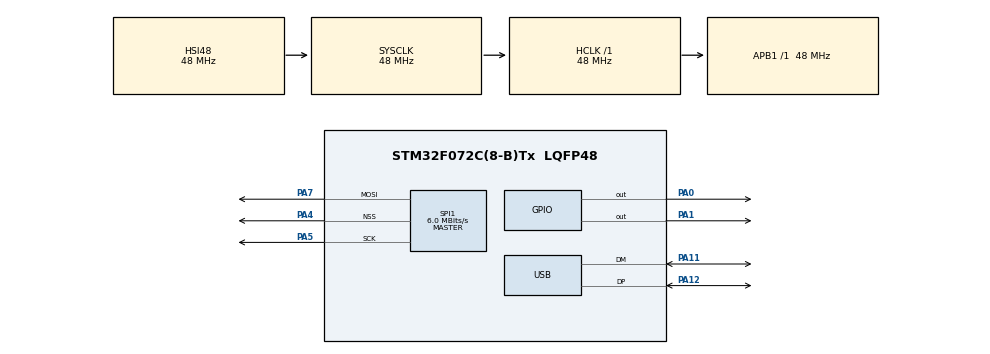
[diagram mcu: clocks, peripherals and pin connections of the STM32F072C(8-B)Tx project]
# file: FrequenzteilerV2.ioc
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Mcu.Family=STM32F0
Mcu.Name=STM32F072C(8-B)Tx
Mcu.Package=LQFP48
NVIC.USB_IRQn=true\:0\:0\:false\:false\:true\:false\:true
PA0.Signal=GPIO_Output
PA1.Signal=GPIO_Output
PA11.Mode=Device
PA11.Signal=USB_DM
PA12.Mode=Device
PA12.Signal=USB_DP
PA13.Mode=Serial_Wire
PA13.Signal=SYS_SWDIO
PA14.Mode=Serial_Wire
PA14.Signal=SYS_SWCLK
PA4.Mode=NSS_Signal_Hard_Output
PA4.Signal=SPI1_NSS
PA5.Mode=TX_Only_Simplex_Unidirect_Master
PA5.Signal=SPI1_SCK
PA7.Mode=TX_Only_Simplex_Unidirect_Master
PA7.Signal=SPI1_MOSI
ProjectManager.HeapSize=0x200
ProjectManager.StackSize=0x400
ProjectManager.TargetToolchain=STM32CubeIDE
RCC.AHBFreq_Value=48000000
RCC.APB1Freq_Value=48000000
RCC.APB1TimFreq_Value=48000000
RCC.HCLKFreq_Value=48000000
RCC.SYSCLKFreq_VALUE=48000000
RCC.SYSCLKSource=RCC_SYSCLKSOURCE_HSI48
SPI1.BaudRatePrescaler=SPI_BAUDRATEPRESCALER_8
SPI1.CalculateBaudRate=6.0 MBits/s
SPI1.DataSize=SPI_DATASIZE_16BIT
SPI1.Direction=SPI_DIRECTION_2LINES
SPI1.Mode=SPI_MODE_MASTER
SPI1.VirtualNSS=VM_NSSHARD
SPI1.VirtualType=VM_MASTER
USB_DEVICE.CLASS_NAME_FS=CDC
USB_DEVICE.VirtualMode=Cdc
USB_DEVICE.VirtualModeFS=Cdc_FS
VP_USB_DEVICE_VS_USB_DEVICE_CDC_FS.Mode=CDC_FS
board=custom

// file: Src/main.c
/* USER CODE BEGIN Header */
/**
  ******************************************************************************
  * @file           : main.c
  * @brief          : Main program body
  ******************************************************************************
  * @attention
  *
  * <h2><center>&copy; Copyright (c) 2020 STMicroelectronics.
  * All rights reserved.</center></h2>
  *
  * This software component is licensed by ST under BSD 3-Clause license,
  * the "License"; You may not use this file except in compliance with the
  * License. You may obtain a copy of the License at:
  *                        opensource.org/licenses/BSD-3-Clause
  *
  ******************************************************************************
  */
/* USER CODE END Header */
#include "main.h"
#include "usb_device.h"

/* USER CODE BEGIN Includes */

#include "usbd_cdc_if.h"
#include "HMCWriter.h"
#include "SerialCommunication.h"

/* USER CODE END Includes */

/* USER CODE BEGIN PD */

int delay = 100;

//initial set
unsigned int divider = 32;

/* USER CODE END PD */

SPI_HandleTypeDef hspi1;

void SystemClock_Config(void);
static void MX_GPIO_Init(void);
static void MX_SPI1_Init(void);
/* USER CODE BEGIN PFP */
void send_message(char text[]);
void process_buffer();
unsigned int set_divider(unsigned int divider);
/* USER CODE END PFP */

int main(void)
{

  /* MCU Configuration--------------------------------------------------------*/

  /* Reset of all peripherals, Initializes the Flash interface and the Systick. */
  HAL_Init();

  /* Configure the system clock */
  SystemClock_Config();

  /* Initialize all configured peripherals */
  MX_GPIO_Init();
  MX_SPI1_Init();
  MX_USB_DEVICE_Init();
  /* USER CODE BEGIN 2 */

  /*
   * Set divider of the NB6N239S chip. Divider can be 1,2,4,8
   * See the following table to set
   * SELA1 SELA0  	QA Outputs
	 L		L		Divide by 1
	 L		H		Divide by 2
	 H		L		Divide by 4
	 H		H		Divide by 8

	 High (H) is GPIO_PIN_SET, Low (L) is GPIO_PIN_RESET
   */
  HAL_GPIO_WritePin(SELA1_GPIO_Port, SELA1_Pin, GPIO_PIN_RESET);
  HAL_GPIO_WritePin(SELA0_GPIO_Port, SELA0_Pin, GPIO_PIN_RESET);

  // set GPO of HMC to 1
  writeHMCReg(0x05,0x01);

  // what does that?
  writeHMCReg(0x04,0x08);

  // divider settings
  // 0: /1
  //1: /2
  //2: /4
  //3: /8
  //4: /16
  //5: /32
  //6: N/A
  //7: N/A
  writeHMCReg(0x02,0x05);

  // sleep
  // maybe best to use Stop mode instead of Standby mode. See STM32F072x8/xB manual, page 15
  //HAL_PWR_EnterStopMode();

  send_message("...Initialization complete\n");
  /* USER CODE END 2 */

  /* Infinite loop */
  while (1)
  {

    /* USER CODE BEGIN 3 */
	if (SerialComm_EndReached()) {
		//debug
		//send_message("Cmd received\n");

		process_buffer();

		// restart buffering
		SerialComm_StartBuffering();

	}

	// send "Hello World every 5000 milliseconds
//	if (5000 - counter*delay < delay) {
//		send_message("I'm alive\n");
//		counter = 0;
//	} else {
//		++counter;
//	}

	HAL_Delay(delay);
  }
  /* USER CODE END 3 */
}

void SystemClock_Config(void)
{
  RCC_OscInitTypeDef RCC_OscInitStruct = {0};
  RCC_ClkInitTypeDef RCC_ClkInitStruct = {0};
  RCC_PeriphCLKInitTypeDef PeriphClkInit = {0};

  /** Initializes the RCC Oscillators according to the specified parameters
  * in the RCC_OscInitTypeDef structure.
  */
  RCC_OscInitStruct.OscillatorType = RCC_OSCILLATORTYPE_HSI48;
  RCC_OscInitStruct.HSI48State = RCC_HSI48_ON;
  RCC_OscInitStruct.PLL.PLLState = RCC_PLL_NONE;
  if (HAL_RCC_OscConfig(&RCC_OscInitStruct) != HAL_OK)
  {
    Error_Handler();
  }
  /** Initializes the CPU, AHB and APB buses clocks
  */
  RCC_ClkInitStruct.ClockType = RCC_CLOCKTYPE_HCLK|RCC_CLOCKTYPE_SYSCLK
                              |RCC_CLOCKTYPE_PCLK1;
  RCC_ClkInitStruct.SYSCLKSource = RCC_SYSCLKSOURCE_HSI48;
  RCC_ClkInitStruct.AHBCLKDivider = RCC_SYSCLK_DIV1;
  RCC_ClkInitStruct.APB1CLKDivider = RCC_HCLK_DIV1;

  if (HAL_RCC_ClockConfig(&RCC_ClkInitStruct, FLASH_LATENCY_1) != HAL_OK)
  {
    Error_Handler();
  }
  PeriphClkInit.PeriphClockSelection = RCC_PERIPHCLK_USB;
  PeriphClkInit.UsbClockSelection = RCC_USBCLKSOURCE_HSI48;

  if (HAL_RCCEx_PeriphCLKConfig(&PeriphClkInit) != HAL_OK)
  {
    Error_Handler();
  }
}

static void MX_SPI1_Init(void)
{

  /* SPI1 parameter configuration*/
  hspi1.Instance = SPI1;
  hspi1.Init.Mode = SPI_MODE_MASTER;
  hspi1.Init.Direction = SPI_DIRECTION_2LINES;
  hspi1.Init.DataSize = SPI_DATASIZE_16BIT;
  hspi1.Init.CLKPolarity = SPI_POLARITY_LOW;
  hspi1.Init.CLKPhase = SPI_PHASE_1EDGE;
  hspi1.Init.NSS = SPI_NSS_HARD_OUTPUT;
  hspi1.Init.BaudRatePrescaler = SPI_BAUDRATEPRESCALER_8;
  hspi1.Init.FirstBit = SPI_FIRSTBIT_MSB;
  hspi1.Init.TIMode = SPI_TIMODE_DISABLE;
  hspi1.Init.CRCCalculation = SPI_CRCCALCULATION_DISABLE;
  hspi1.Init.CRCPolynomial = 7;
  hspi1.Init.CRCLength = SPI_CRC_LENGTH_DATASIZE;
  hspi1.Init.NSSPMode = SPI_NSS_PULSE_ENABLE;
  if (HAL_SPI_Init(&hspi1) != HAL_OK)
  {
    Error_Handler();
  }

}

static void MX_GPIO_Init(void)
{
  GPIO_InitTypeDef GPIO_InitStruct = {0};

  /* GPIO Ports Clock Enable */
  __HAL_RCC_GPIOA_CLK_ENABLE();

  /*Configure GPIO pin Output Level */
  HAL_GPIO_WritePin(GPIOA, GPIO_PIN_0|GPIO_PIN_1, GPIO_PIN_RESET);

  /*Configure GPIO pins : PA0 PA1 */
  GPIO_InitStruct.Pin = GPIO_PIN_0|GPIO_PIN_1;
  GPIO_InitStruct.Mode = GPIO_MODE_OUTPUT_PP;
  GPIO_InitStruct.Pull = GPIO_NOPULL;
  GPIO_InitStruct.Speed = GPIO_SPEED_FREQ_LOW;
  HAL_GPIO_Init(GPIOA, &GPIO_InitStruct);

}

/* USER CODE BEGIN 4 */
void send_message(char text[])
{
	uint16_t len = strlen((char *)text);
	CDC_Transmit_FS((uint8_t*)text, len);
	HAL_Delay(delay);
}

// where the magic happens
void process_buffer()
{
	// process the buffer. This function is called  in main loop
	// when the buffering stopped, i.e. endline received
	// then this function process the buffer and
	// implements the protocoll
	//
	//pointer to cmd buffer
	uint8_t * buffer;
	buffer = SerialComm_Cmd_Buffer();
	// length
	uint32_t len = 0;
	len = SerialComm_Cmd_Buffer_Len();

	char text[12];

	unsigned int new_divider;

	for (int i = 0; i < len; ++i) {

		switch (buffer[i]) {
		case 'd':

			sprintf(text, "%u\n", divider);
			send_message(text);

			return;

		case 'D':
//			send_message("Set divider cmd found\n");

			//read out buffer
			//first byte is 'D', so ignore
			sscanf(&buffer[1],"%u\n",&new_divider);

			//debug
//			CDC_Transmit_FS(buffer, len);
//			HAL_Delay(delay);

			if (!set_divider(new_divider)) {
				sprintf(text, "%u\n", new_divider);
				send_message(text);
			}
			return;
		}

	}

}

unsigned int set_divider(unsigned int new_divider)
{
//	uint8_t text[36];
//	sprintf(text, "new Divider %d\n", new_divider);
//	send_message(text);
//	return;

	if ((new_divider%2 != 0 && new_divider != 1) || new_divider > 32 || new_divider < 1)
	{
		char text[36];
		sprintf(text, "Divider %d invalid\n", new_divider);
		send_message(text);
		return 1;
	}

	//make log 2 of divider
	unsigned int HMC_divider_set = 0;
	unsigned int temp = new_divider;
	unsigned int divider2store = 1;

	// make shifts (log2 and power 2)
	while (temp >>= 1) {
		HMC_divider_set++;
		divider2store <<= 1;
	}

	// check log 2
	if (divider2store != new_divider) {
		char text[36];
		sprintf(text, "Divider %d invalid, not equal %d\n", new_divider, divider2store);
		send_message(text);
		return 1;
	}

	// set global divider information
	divider = new_divider;

	// divider settings
	// 0: /1
	//1: /2
	//2: /4
	//3: /8
	//4: /16
	//5: /32
	//6: N/A
	//7: N/A
	writeHMCReg(0x02,HMC_divider_set);

	return 0;

}
/* USER CODE END 4 */

void Error_Handler(void)
{
  /* USER CODE BEGIN Error_Handler_Debug */
  /* User can add his own implementation to report the HAL error return state */
	uint8_t buffer[] = "Error happened with HAL\r\n";
	CDC_Transmit_FS(buffer, sizeof(buffer));
	HAL_Delay(1000);
  /* USER CODE END Error_Handler_Debug */
}

/************************ (C) COPYRIGHT STMicroelectronics *****END OF FILE****/
